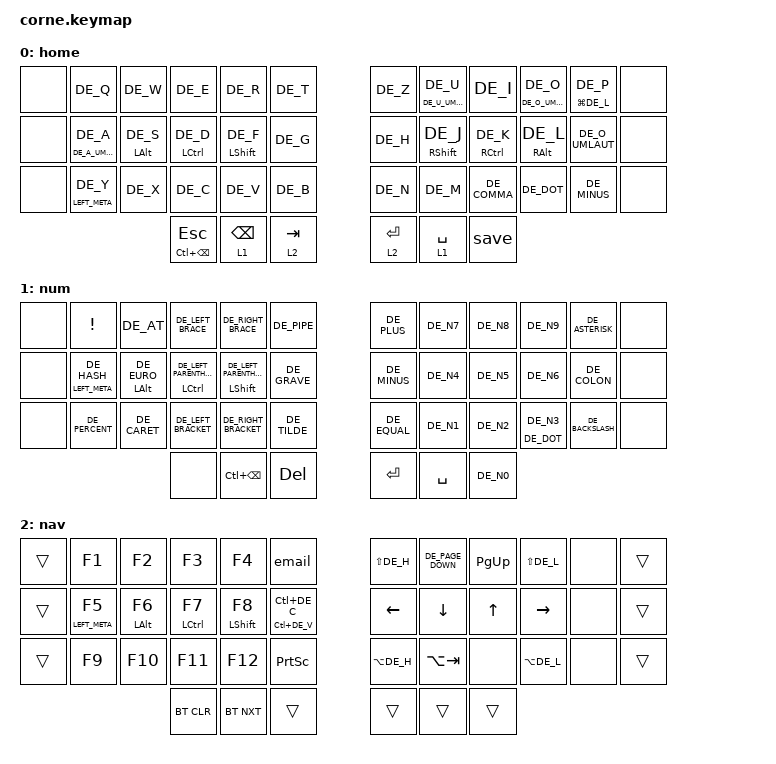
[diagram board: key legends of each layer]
/*
 * Copyright (c) 2020 The ZMK Contributors
 *
 * SPDX-License-Identifier: MIT
 */

#include <behaviors.dtsi>
#include <dt-bindings/zmk/bt.h>
#include <dt-bindings/zmk/keys.h>
#include "keys_de.h"

/ {
    behaviors {
        hm: homerow_mods {
            compatible = "zmk,behavior-hold-tap";
            label = "HOMEROW_MODS";
            bindings = <&kp>, <&kp>;

            #binding-cells = <2>;
            tapping-term-ms = <200>;
            flavor = "tap-preferred";
            require-prior-idle-ms = <125>;
            quick-tap-ms = <200>;
        };

        shifthr: shifthr {
            compatible = "zmk,behavior-hold-tap";
            label = "SHIFTHR";
            bindings = <&kp>, <&kp>;

            #binding-cells = <2>;
            tapping-term-ms = <185>;
            flavor = "tap-preferred";
            quick-tap-ms = <185>;
        };

        weak: weak {
            compatible = "zmk,behavior-hold-tap";
            label = "WEAK";
            bindings = <&kp>, <&kp>;

            #binding-cells = <2>;
            tapping-term-ms = <230>;
            flavor = "tap-preferred";
            require-prior-idle-ms = <125>;
            quick-tap-ms = <230>;
        };

        backspace: backspace {
            compatible = "zmk,behavior-tap-dance";
            label = "BACKSPACE";
            #binding-cells = <0>;
            bindings = <&kp BACKSPACE>, <&kp LC(BACKSPACE)>;
        };
    };

    combos {
        compatible = "zmk,combos";

        caps {
            bindings = <&kp CAPS>;
            key-positions = <16 19>;
        };

        jk_fix {
            bindings = <&kp ESCAPE>;
            key-positions = <31 32>;
        };

        under {
            bindings = <&kp DE_UNDER>;
            key-positions = <28 31>;
        };

        dash {
            bindings = <&kp DE_MINUS>;
            key-positions = <4 7>;
        };
    };

    macros {
        save: save {
            compatible = "zmk,behavior-macro";
            #binding-cells = <0>;
            bindings = <&macro_tap>, <&kp ESCAPE &kp DE_COLON &kp DE_W &kp ENTER>;

            label = "SAVE";
        };

        email: email {
            compatible = "zmk,behavior-macro";
            #binding-cells = <0>;
            bindings = <&none &kp DE_U &kp DE_R &kp DE_O &kp DE_S &kp AT &kp DE_P &kp DE_O &kp DE_P &kp DE_O &kp DE_DOT &kp DE_V &kp DE_C>;
            label = "EMAIL";
        };
    };

    keymap {
        compatible = "zmk,keymap";

        home {
            // -----------------------------------------------------------------------------------------
            // | none |  Q  |  W  |  E  |  R  |  T  |   |  Z  |  U   |  I  |  O  |  P  | none |
            // | none |  A  |  S  |  D  |  F  |  G  |   |  H  |  J   |  K  |  L  |  oe | none |
            // | none |  Y  |  X  |  C  |  V  |  B  |   |  N  |  M   |  ,  |  .  |  -  | none |
            //                    | ESC | BCK | TAB |   | ENT | SPC  | SAVE |

            bindings = <
&none  &kp DE_Q              &kp DE_W             &kp DE_E                    &kp DE_R                  &kp DE_T        &kp DE_Z     &weak DE_U_UMLAUT DE_U  &kp DE_I             &weak DE_O_UMLAUT DE_O  &weak LG(DE_L) DE_P        &none
&none  &weak DE_A_UMLAUT DE_A  &weak LEFT_ALT DE_S  &shifthr LEFT_CONTROL DE_D  &shifthr LEFT_SHIFT DE_F  &kp DE_G        &kp DE_H     &shifthr RSHIFT DE_J    &shifthr RCTRL DE_K  &weak RIGHT_ALT DE_L  &kp DE_O_UMLAUT            &none
&none  &weak LEFT_META DE_Y    &kp DE_X             &kp DE_C                    &kp DE_V                  &kp DE_B        &kp DE_N     &kp DE_M              &kp DE_COMMA         &kp DE_DOT              &kp DE_MINUS               &none
                                                  &hm LC(BACKSPACE) ESCAPE    &lt 1 BACKSPACE           &lt 2 TAB       &lt 2 ENTER  &lt 1 SPACE           &save
            >;

            label = "home";
        };

        num {
            // -----------------------------------------------------------------------------------------
            // | none |  !  |  @  |  {  |  }  | "|" |   |  +  |  7  |  8  |  9  |  *  | none |
            // | none |  #  |  €  |  (  |  )  |  '  |   |  -  |  4  |  5  |  6  |  :  | none |
            // | none |  %  |  ^  |  [  |  ]  |  ~  |   |  =  |  1  |  2  |  3  |  \  | none |
            //                    | none| BCK | DEL |   | RET |SPACE|  0  |

            bindings = <
&none  &kp EXCL               &kp DE_AT             &kp DE_LEFT_BRACE              &kp DE_RIGHT_BRACE                  &kp DE_PIPE        &kp DE_PLUS   &kp DE_N7  &kp DE_N8  &kp DE_N9              &kp DE_ASTERISK   &none
&none  &hm LEFT_META DE_HASH  &hm LEFT_ALT DE_EURO  &hm LCTRL DE_LEFT_PARENTHESIS  &hm LEFT_SHIFT DE_LEFT_PARENTHESIS  &kp DE_GRAVE       &kp DE_MINUS  &kp DE_N4  &kp DE_N5  &kp DE_N6              &kp DE_COLON      &none
&none  &kp DE_PERCENT         &kp DE_CARET          &kp DE_LEFT_BRACKET            &kp DE_RIGHT_BRACKET                &kp DE_TILDE       &kp DE_EQUAL  &kp DE_N1  &kp DE_N2  &shifthr DE_DOT DE_N3  &kp DE_BACKSLASH  &none
                                                    &none                          &kp LC(BACKSPACE)                   &kp DEL            &kp RET       &kp SPACE  &kp DE_N0
            >;

            label = "num";
        };

        nav {
            // -----------------------------------------------------------------------------------------
            // | none |  F1  |  F2  |  F3  |  F4  | @email |  |SHFT-H| PG_D  | PG_Up |SHFT-L|    | none |
            // | none |  F5  |  F6  |  F7  |  F8  |SHFT-C/V|  | ar_l |ar_down| ar_up | ar_r |    | none |
            // | none |  F9  |  F10 |  F11 |  F12 | print  |  | alt-H|alt-tab|       | alt-L|    | none |
            //                  | BT-CLR | BT-NXT | &trans |  | &trans | &trans | &trans |

            bindings = <
&trans  &kp F1            &kp F2           &kp F3        &kp F4             &email                   &kp LS(DE_H)       &kp DE_PAGE_DOWN  &kp PG_UP     &kp LS(DE_L)  &none  &trans
&trans  &hm LEFT_META F5  &hm LEFT_ALT F6  &hm LCTRL F7  &hm LEFT_SHIFT F8  &hm LC(DE_V) LC(DE_C)    &kp LEFT_ARROW     &kp DOWN          &kp UP_ARROW  &kp RIGHT     &none  &trans
&trans  &kp F9            &kp F10          &kp F11       &kp F12            &kp PSCRN                &kp LA(DE_H)       &kp LA(TAB)       &none         &kp LA(DE_L)  &none  &trans
                                           &bt BT_CLR    &bt BT_NXT         &trans                   &trans             &trans            &trans
            >;

            label = "nav";
        };
    };
};
